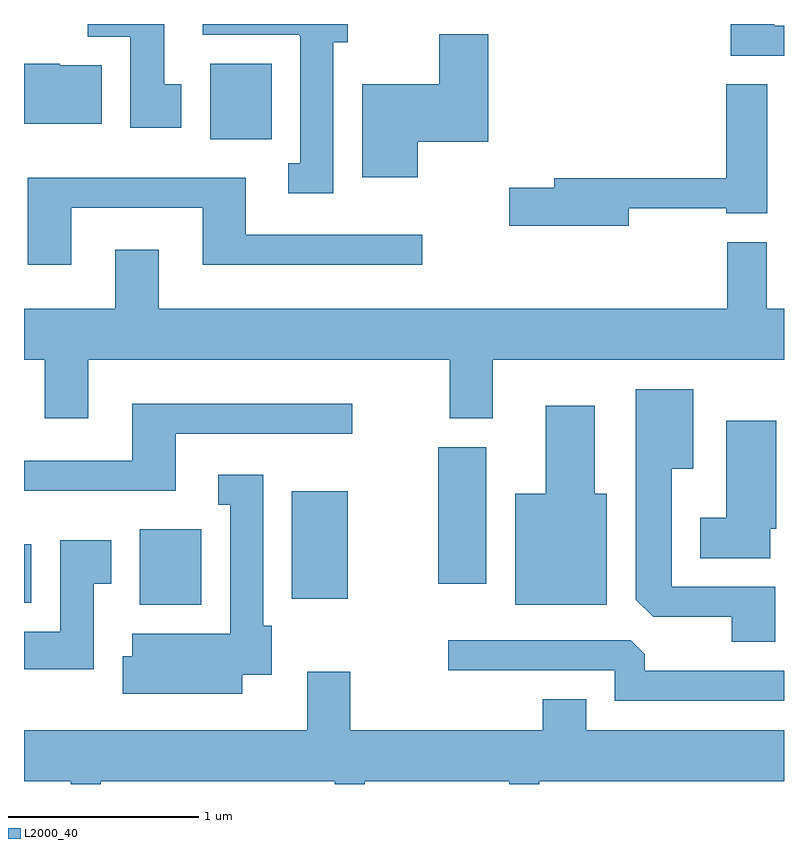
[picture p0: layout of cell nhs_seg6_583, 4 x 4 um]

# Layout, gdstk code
import gdstk
lib = gdstk.Library(unit=1e-6, precision=1e-09)
def R(c, l, rs):  # rectangles x0, y0, x1, y1
    for r in rs: c.add(gdstk.rectangle(r[:2], r[2:], *l))
def P(c, l, *ps):  # polygons
    for p in ps: c.add(gdstk.Polygon(p, *l))
L2000_40 = (2000, 40)

nhs_seg6_583 = lib.new_cell('nhs_seg6_583')
R(nhs_seg6_583, L2000_40, [(202.221,1633.106,202.544,1633.504), (201.611,1633.116,201.649,1633.424), (203.021,1633.136,203.314,1633.704), (203.791,1633.216,204.044,1633.934), (202.591,1635.556,202.914,1635.954)])
P(nhs_seg6_583, L2000_40, [(202.439,1635.844),(202.349,1635.844),(202.349,1636.162),(201.946,1636.162),(201.946,1636.096),(202.171,1636.096),(202.171,1635.616),(202.439,1635.616)],
  [(203.239,1636.066),(203.314,1636.066),(203.314,1636.162),(202.551,1636.162),(202.551,1636.106),(203.06,1636.106),(203.06,1636.1),(203.066,1636.1),(203.066,1635.429),(203.003,1635.429),(203.003,1635.271),(203.239,1635.271)],
  [(205.611,1636.154),(205.559,1636.154),(205.559,1636.162),(205.331,1636.162),(205.331,1635.996),(205.611,1635.996)],
  [(203.684,1635.541),(204.054,1635.541),(204.054,1636.109),(203.796,1636.109),(203.796,1635.844),(203.391,1635.844),(203.391,1635.356),(203.684,1635.356)],
  [(202.019,1635.944),(201.8,1635.944),(201.8,1635.954),(201.611,1635.954),(201.611,1635.636),(202.019,1635.636)],
  [(204.794,1635.191),(205.306,1635.191),(205.306,1635.166),(205.524,1635.166),(205.524,1635.844),(205.306,1635.844),(205.306,1635.349),(204.401,1635.349),(204.401,1635.299),(204.166,1635.299),(204.166,1635.101),(204.794,1635.101)],
  [(201.859,1635.196),(202.551,1635.196),(202.551,1634.896),(203.708,1634.896),(203.708,1635.054),(202.779,1635.054),(202.779,1635.354),(201.631,1635.354),(201.631,1634.896),(201.859,1634.896)],
  [(201.949,1634.396),(203.851,1634.396),(203.851,1634.086),(204.079,1634.086),(204.079,1634.396),(205.611,1634.396),(205.611,1634.664),(205.519,1634.664),(205.519,1635.014),(205.311,1635.014),(205.311,1634.664),(202.319,1634.664),(202.319,1634.974),(202.091,1634.974),(202.091,1634.664),(201.611,1634.664),(201.611,1634.396),(201.721,1634.396),(201.721,1634.086),(201.949,1634.086)],
  [(205.564,1633.199),(205.019,1633.199),(205.019,1633.821),(205.134,1633.821),(205.134,1634.239),(204.831,1634.239),(204.831,1633.132),(204.922,1633.041),(205.336,1633.041),(205.336,1632.911),(205.564,1632.911)],
  [(202.409,1634.006),(203.338,1634.006),(203.338,1634.164),(202.181,1634.164),(202.181,1633.864),(201.611,1633.864),(201.611,1633.706),(202.409,1633.706)],
  [(204.679,1633.689),(204.614,1633.689),(204.614,1634.154),(204.356,1634.154),(204.356,1633.689),(204.196,1633.689),(204.196,1633.106),(204.679,1633.106)],
  [(205.539,1633.506),(205.569,1633.506),(205.569,1634.074),(205.306,1634.074),(205.306,1633.564),(205.171,1633.564),(205.171,1633.351),(205.539,1633.351)],
  [(202.759,1632.736),(202.914,1632.736),(202.914,1632.994),(202.869,1632.994),(202.869,1633.789),(202.633,1633.789),(202.633,1633.631),(202.696,1633.631),(202.696,1632.954),(202.181,1632.954),(202.181,1632.834),(202.131,1632.834),(202.131,1632.636),(202.759,1632.636)],
  [(201.979,1633.216),(202.069,1633.216),(202.069,1633.444),(201.801,1633.444),(201.801,1632.964),(201.611,1632.964),(201.611,1632.766),(201.979,1632.766)],
  [(205.611,1632.759),(204.879,1632.759),(204.879,1632.844),(204.804,1632.919),(203.843,1632.919),(203.843,1632.761),(204.721,1632.761),(204.721,1632.601),(205.611,1632.601)],
  [(202.014,1632.176),(203.246,1632.176),(203.246,1632.162),(203.404,1632.162),(203.404,1632.176),(204.166,1632.176),(204.166,1632.162),(204.324,1632.162),(204.324,1632.176),(205.611,1632.176),(205.611,1632.444),(204.569,1632.444),(204.569,1632.609),(204.341,1632.609),(204.341,1632.444),(203.329,1632.444),(203.329,1632.754),(203.101,1632.754),(203.101,1632.444),(201.611,1632.444),(201.611,1632.176),(201.856,1632.176),(201.856,1632.162),(202.014,1632.162)])

lib.write_gds('nhs_seg6_583.gds')
